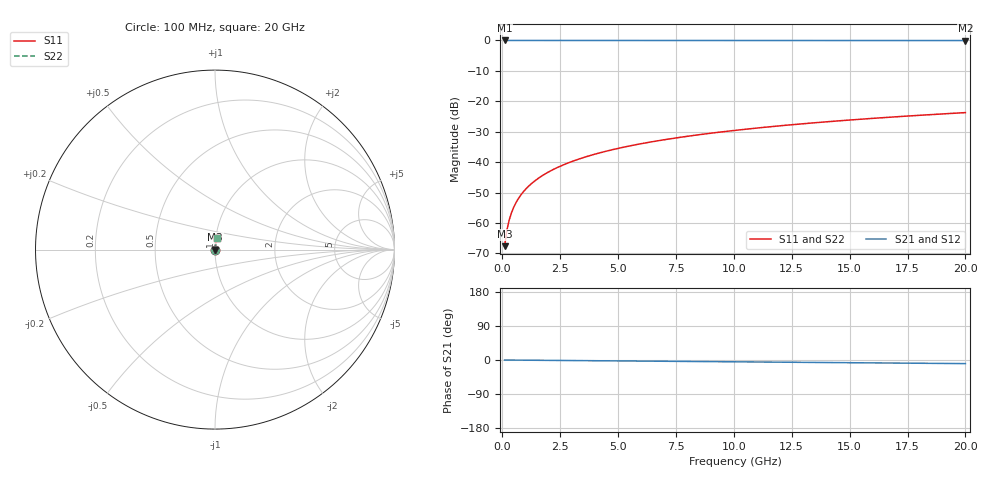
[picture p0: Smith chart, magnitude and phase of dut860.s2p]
! Touchstone file exported from HFSS 2026.1.0
!  File:  C:/ffzhzh/LocalFiles/Ansys_Project_Files/temp_train_TSV_860_1783185349_22436.aedt
!  Generated:  01:17:17 AM Jul  5, 2026
!  Design:  TSV
!  Project:  temp_train_TSV_860_1783185349_22436
! Variables:
!  h_bsmrdl = 2um
!  h_ox = 20um
!  h_rdl = 5um
!  h_sub = 83.64um
!  h_tmrdl = 5um
!  h_tsv = 83.64um
!  h_via = 3um
!  l_bsmrdl = 300um
!  l_sub = 415.66um
!  l_tmrdl = 200um
!  m_sub = 200um
!  pitch = 55.21um
!  r_tsv = 7.83um
!  s_tmrdl = 10um
!  w_bsmrdl = 18um
!  w_sub = 500um
!  w_tmrdl = 12um
!  x_tsv_center1 = 206um
!  x_tsv_center2 = 524um
!  x_tsv_center3 = 736um
!  x_tsv_center4 = 1054um
!  x_tsv_center5 = 1266um
!  x_tsv_center6 = 1584um
# GHz S MA R 50.000000
! Terminal data exported
! Port[1] = TSV1_1_T1
! Port[2] = TSV1_1_T2
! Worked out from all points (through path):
!   200 points, 100 MHz to 20 GHz, reference 50 ohm
!   highest |S21| = 0.00 dB at 100 MHz (marker M1); lowest = 0.0 dB at 20 GHz (marker M2)
!   group delay of S21, straight-line fit = 1.32 ps
!   lowest |S11| = -67.6 dB at 100 MHz (marker M3), VSWR 1.00, Z = 50 + j0.0371 ohm
!   |S11| at or under -10 dB: start of sweep to end of sweep
!   |S22| runs from -67.6 to -23.7 dB; largest |S21 - S12| = 3.1e-15
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0.1  0.0004165 62.9  0.9998 -0.1  0.9998 -0.1  0.0004165 62.9
! Gamma 0 0 0 0
! Port Impedance 50 0 50 0
0.2  0.0007662 74.8  0.9998 -0.1  0.9998 -0.1  0.0007662 74.8
0.3  0.001126 78.9  0.9998 -0.1  0.9998 -0.1  0.001126 78.9
0.4  0.001485 80.8  0.9998 -0.2  0.9998 -0.2  0.001485 80.8
0.5  0.001841 81.8  0.9997 -0.2  0.9997 -0.2  0.001841 81.8
0.6  0.002193 82.5  0.9997 -0.3  0.9997 -0.3  0.002193 82.5
0.7  0.002541 82.9  0.9997 -0.3  0.9997 -0.3  0.002541 82.9
0.8  0.002885 83.2  0.9997 -0.4  0.9997 -0.4  0.002885 83.2
1  0.003567 83.7  0.9996 -0.5  0.9996 -0.5  0.003567 83.7
1.4  0.004911 84.3  0.9996 -0.7  0.9996 -0.7  0.004911 84.3
1.7  0.005912 84.6  0.9995 -0.8  0.9995 -0.8  0.005912 84.6
2  0.006911 84.9  0.9995 -1.0  0.9995 -1.0  0.006911 84.9
2.7  0.009238 85.2  0.9994 -1.3  0.9994 -1.3  0.009238 85.2
3.5  0.01189 85.2  0.9993 -1.7  0.9993 -1.7  0.01189 85.2
4.2  0.0142 85.1  0.9992 -2.0  0.9992 -2.0  0.0142 85.1
5  0.01684 85.0  0.9991 -2.4  0.9991 -2.4  0.01684 85.0
6.8  0.02273 84.5  0.9988 -3.3  0.9988 -3.3  0.02273 84.5
8.3  0.02762 84.0  0.9986 -4.0  0.9986 -4.0  0.02762 84.0
10.1  0.03346 83.3  0.9983 -4.8  0.9983 -4.8  0.03346 83.3
13.4  0.04412 82.0  0.9978 -6.4  0.9978 -6.4  0.04412 82.0
16.7  0.05471 80.6  0.9971 -8.0  0.9971 -8.0  0.05471 80.6
20  0.06519 79.1  0.9963 -9.5  0.9963 -9.5  0.06519 79.1
